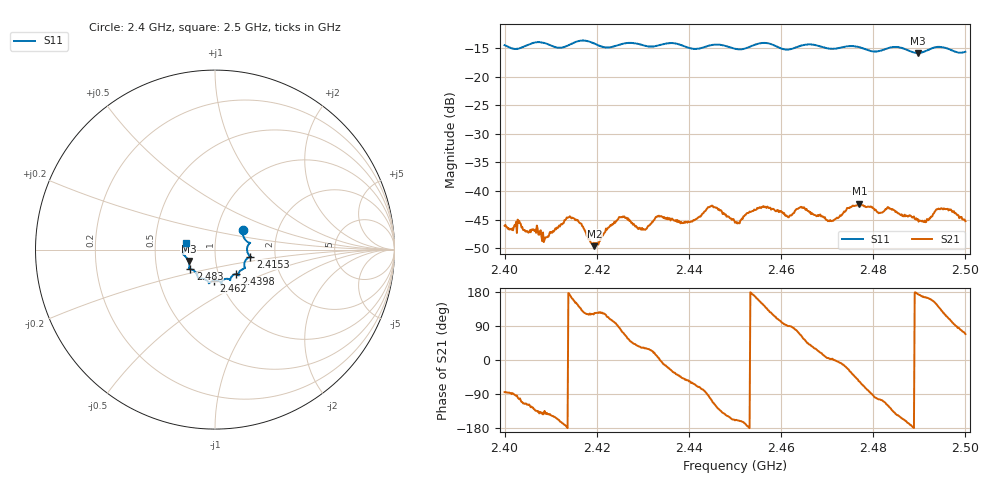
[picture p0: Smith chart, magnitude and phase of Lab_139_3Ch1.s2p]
# Hz S RI R 50
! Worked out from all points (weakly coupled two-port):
!   601 points, 2.4 GHz to 2.5 GHz, reference 50 ohm
!   highest |S21| = -42.20 dB at 2.477 GHz (marker M1); lowest = -49.6 dB at 2.4195 GHz (marker M2)
!   lowest |S11| = -15.9 dB at 2.4897 GHz (marker M3), VSWR 1.38, Z = 36.9 - j4.82 ohm
!   |S11| at or under -10 dB: start of sweep to end of sweep
!   S12 and S22 are empty: the file has one direction only
!   S11 on the Smith chart (normalised r, x): 2.4 GHz: 1.33, +0.29; 2.4153 GHz: 1.48, -0.12; 2.4398 GHz: 1.21, -0.34; 2.462 GHz: 0.93, -0.33; 2.483 GHz: 0.74, -0.17; 2.5 GHz: 0.72, +0.06
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2.4e9  0.1552 0.1065  0.00046 -0.00494  0 0  0 0
2.409e9  0.1915 0.0337  -0.0031 -0.00241  0 0  0 0
2.415333e9  0.1963 -0.0386  -0.00486 0.00268  0 0  0 0
2.416667e9  0.202 -0.0426  -0.00347 0.00382  0 0  0 0
2.4195e9  0.1892 -0.0435  -0.00184 0.00273  0 0  0 0
2.425167e9  0.1651 -0.0969  0.000963 0.00581  0 0  0 0
2.430167e9  0.1514 -0.1104  0.00389 0.00252  0 0  0 0
2.433333e9  0.1312 -0.1337  0.00596 0.000637  0 0  0 0
2.439833e9  0.1155 -0.1365  0.00321 -0.00435  0 0  0 0
2.444667e9  0.0849 -0.1673  -0.00147 -0.00721  0 0  0 0
2.45e9  0.0647 -0.1626  -0.00494 -0.00188  0 0  0 0
2.456e9  0.0382 -0.193  -0.00614 0.00389  0 0  0 0
2.462e9  -0.00515 -0.1732  0.00011 0.00613  0 0  0 0
2.4645e9  -0.0301 -0.1846  0.00333 0.00632  0 0  0 0
2.466667e9  -0.0343 -0.1875  0.00517 0.00381  0 0  0 0
2.471e9  -0.0584 -0.1648  0.00544 0.000203  0 0  0 0
2.477e9  -0.0959 -0.1529  0.00426 -0.00648  0 0  0 0
2.483e9  -0.1375 -0.1097  -0.00331 -0.00629  0 0  0 0
2.483333e9  -0.14 -0.1094  -0.00377 -0.0061  0 0  0 0
2.489667e9  -0.1474 -0.0637  -0.00564 0.000622  0 0  0 0
2.495167e9  -0.1792 -0.019  -0.00394 0.00568  0 0  0 0
2.5e9  -0.16 0.0391  0.00199 0.00506  0 0  0 0
